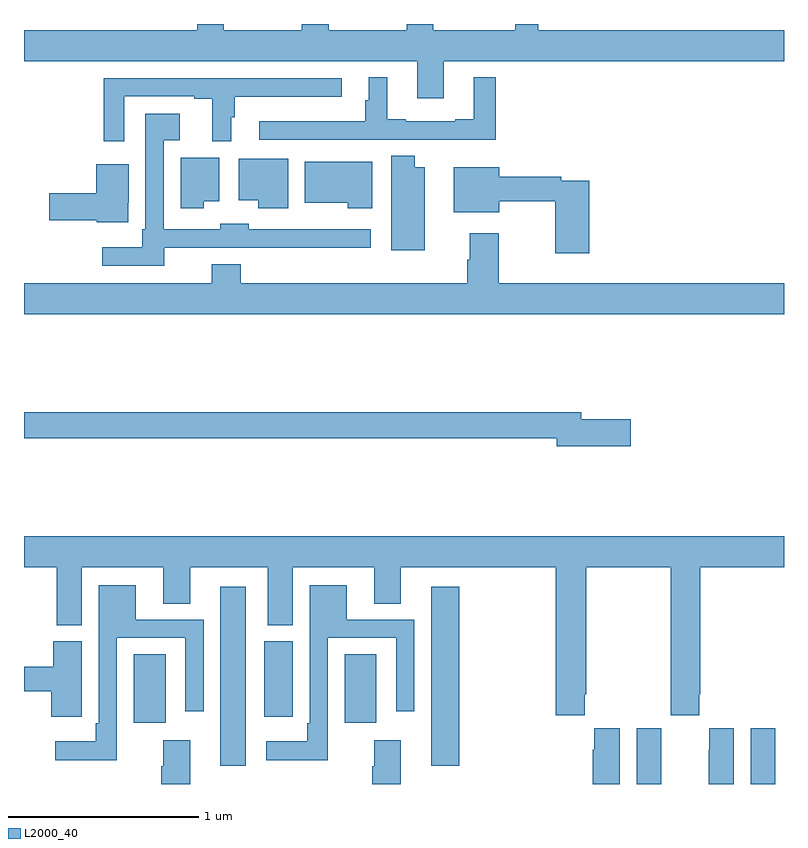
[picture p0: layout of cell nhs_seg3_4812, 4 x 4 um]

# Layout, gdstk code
import gdstk
lib = gdstk.Library(unit=1e-6, precision=1e-09)
def R(c, l, rs):  # rectangles x0, y0, x1, y1
    for r in rs: c.add(gdstk.rectangle(r[:2], r[2:], *l))
def P(c, l, *ps):  # polygons
    for p in ps: c.add(gdstk.Polygon(p, *l))
L2000_40 = (2000, 40)

nhs_seg3_4812 = lib.new_cell('nhs_seg3_4812')
R(nhs_seg3_4812, L2000_40, [(370.034,742.497,370.168,743.437), (371.144,742.497,371.291,743.437), (369.578,742.722,369.745,743.084), (370.688,742.722,370.855,743.084), (370.265,742.755,370.414,743.151)])
P(nhs_seg3_4812, L2000_40, [(371.209,746.204),(373,746.204),(373,746.368),(371.707,746.368),(371.707,746.4),(371.585,746.4),(371.585,746.368),(371.155,746.368),(371.155,746.4),(371.015,746.4),(371.015,746.368),(370.603,746.368),(370.603,746.4),(370.463,746.4),(370.463,746.368),(370.051,746.368),(370.051,746.4),(369.911,746.4),(369.911,746.368),(369,746.368),(369,746.204),(371.069,746.204),(371.069,746.01),(371.209,746.01)],
  [(371.483,746.119),(371.366,746.119),(371.366,745.9),(371.27,745.9),(371.27,745.887),(371.008,745.887),(371.008,745.9),(370.912,745.9),(370.912,746.119),(370.814,746.119),(370.814,745.998),(370.795,745.998),(370.795,745.888),(370.239,745.888),(370.239,745.791),(371.152,745.791),(371.152,745.79),(371.483,745.79)],
  [(369.528,746.019),(369.896,746.019),(369.896,746.007),(369.992,746.007),(369.992,745.782),(370.09,745.782),(370.09,745.908),(370.109,745.908),(370.109,746.018),(370.672,746.018),(370.672,746.115),(369.42,746.115),(369.42,745.782),(369.528,745.782)],
  [(369.738,745.223),(370.825,745.223),(370.825,745.321),(370.486,745.321),(370.486,745.32),(370.182,745.32),(370.182,745.348),(370.032,745.348),(370.032,745.32),(369.735,745.32),(369.735,745.787),(369.82,745.787),(369.82,745.927),(369.639,745.927),(369.639,745.321),(369.623,745.321),(369.623,745.225),(369.411,745.225),(369.411,745.128),(369.738,745.128)],
  [(371.11,745.645),(371.056,745.645),(371.056,745.706),(370.934,745.706),(370.934,745.208),(371.11,745.208)],
  [(369.946,745.466),(370.027,745.466),(370.027,745.696),(369.824,745.696),(369.824,745.43),(369.946,745.43)],
  [(370.39,745.69),(370.13,745.69),(370.13,745.472),(370.233,745.472),(370.233,745.43),(370.39,745.43)],
  [(370.834,745.675),(370.478,745.675),(370.478,745.46),(370.705,745.46),(370.705,745.43),(370.834,745.43)],
  [(369.549,745.459),(369.55,745.459),(369.55,745.663),(369.38,745.663),(369.38,745.508),(369.132,745.508),(369.132,745.366),(369.384,745.366),(369.384,745.356),(369.549,745.356)],
  [(371.975,745.575),(371.828,745.575),(371.828,745.595),(371.5,745.595),(371.5,745.645),(371.261,745.645),(371.261,745.409),(371.5,745.409),(371.5,745.467),(371.797,745.467),(371.797,745.194),(371.975,745.194)],
  [(373,745.036),(371.498,745.036),(371.498,745.3),(371.345,745.3),(371.345,745.16),(371.333,745.16),(371.333,745.036),(370.142,745.036),(370.142,745.135),(369.989,745.135),(369.989,745.036),(369,745.036),(369,744.872),(373,744.872)],
  [(372.193,744.32),(371.932,744.32),(371.932,744.356),(369,744.356),(369,744.22),(371.804,744.22),(371.804,744.178),(372.193,744.178)],
  [(369,743.54),(369.173,743.54),(369.173,743.236),(369.304,743.236),(369.304,743.54),(369.734,743.54),(369.734,743.35),(369.874,743.35),(369.874,743.54),(370.283,743.54),(370.283,743.236),(370.414,743.236),(370.414,743.54),(370.844,743.54),(370.844,743.35),(370.984,743.35),(370.984,743.54),(371.798,743.54),(371.798,742.761),(371.951,742.761),(371.951,742.873),(371.958,742.873),(371.958,743.54),(372.403,743.54),(372.403,742.873),(372.405,742.873),(372.405,742.761),(372.555,742.761),(372.555,742.873),(372.558,742.873),(372.558,743.54),(373,743.54),(373,743.704),(369,743.704)],
  [(370.599,743.169),(370.959,743.169),(370.959,742.782),(371.055,742.782),(371.055,743.265),(370.699,743.265),(370.699,743.446),(370.503,743.446),(370.503,742.72),(370.491,742.72),(370.491,742.624),(370.275,742.624),(370.275,742.526),(370.599,742.526)],
  [(369.489,743.169),(369.849,743.169),(369.849,742.782),(369.945,742.782),(369.945,743.265),(369.589,743.265),(369.589,743.446),(369.393,743.446),(369.393,742.72),(369.377,742.72),(369.377,742.624),(369.165,742.624),(369.165,742.526),(369.489,742.526)],
  [(369.303,742.867),(369.304,742.867),(369.304,743.151),(369.155,743.151),(369.155,743.017),(369,743.017),(369,742.888),(369.143,742.888),(369.143,742.755),(369.303,742.755)],
  [(372.736,742.693),(372.606,742.693),(372.606,742.58),(372.605,742.58),(372.605,742.4),(372.736,742.4)],
  [(372.136,742.693),(372.002,742.693),(372.002,742.58),(371.993,742.58),(371.993,742.4),(372.136,742.4)],
  [(372.355,742.58),(372.354,742.58),(372.354,742.693),(372.224,742.693),(372.224,742.4),(372.355,742.4)],
  [(372.955,742.58),(372.954,742.58),(372.954,742.693),(372.824,742.693),(372.824,742.4),(372.955,742.4)],
  [(370.984,742.63),(370.844,742.63),(370.844,742.493),(370.832,742.493),(370.832,742.4),(370.984,742.4)],
  [(369.874,742.63),(369.734,742.63),(369.734,742.493),(369.722,742.493),(369.722,742.4),(369.874,742.4)])

lib.write_gds('nhs_seg3_4812.gds')
